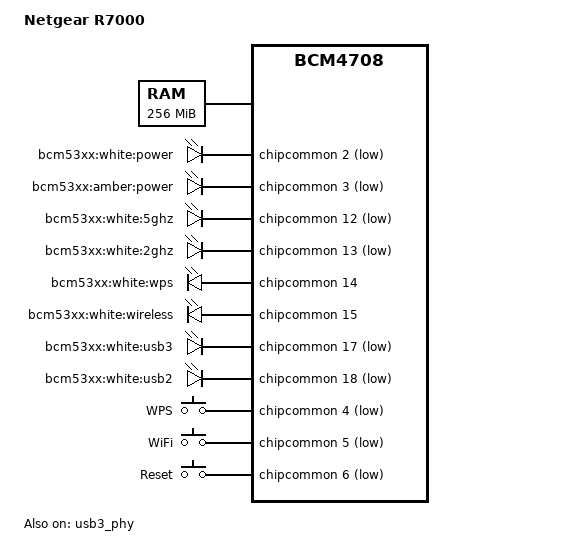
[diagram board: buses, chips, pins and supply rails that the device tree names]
// SPDX-License-Identifier: GPL-2.0-or-later OR MIT
/*
 * Broadcom BCM470X / BCM5301X ARM platform code.
 * DTS for Netgear R7000
 *
 * Copyright (C) 2015 Rafał Miłecki <zajec5@gmail.com>
 */

/dts-v1/;

#include "bcm4709.dtsi"
#include "bcm5301x-nand-cs0-bch8.dtsi"

/ {
	compatible = "netgear,r7000", "brcm,bcm4709", "brcm,bcm4708";
	model = "Netgear R7000";

	chosen {
		bootargs = "console=ttyS0,115200";
	};

	memory@0 {
		device_type = "memory";
		reg = <0x00000000 0x08000000>,
		      <0x88000000 0x08000000>;
	};

	leds {
		compatible = "gpio-leds";

		power-white {
			label = "bcm53xx:white:power";
			gpios = <&chipcommon 2 GPIO_ACTIVE_LOW>;
			linux,default-trigger = "default-on";
		};

		power-amber {
			label = "bcm53xx:amber:power";
			gpios = <&chipcommon 3 GPIO_ACTIVE_LOW>;
		};

		5ghz {
			label = "bcm53xx:white:5ghz";
			gpios = <&chipcommon 12 GPIO_ACTIVE_LOW>;
		};

		2ghz {
			label = "bcm53xx:white:2ghz";
			gpios = <&chipcommon 13 GPIO_ACTIVE_LOW>;
		};

		wps {
			label = "bcm53xx:white:wps";
			gpios = <&chipcommon 14 GPIO_ACTIVE_HIGH>;
		};

		wireless {
			label = "bcm53xx:white:wireless";
			gpios = <&chipcommon 15 GPIO_ACTIVE_HIGH>;
		};

		usb3 {
			label = "bcm53xx:white:usb3";
			gpios = <&chipcommon 17 GPIO_ACTIVE_LOW>;
		};

		usb2 {
			label = "bcm53xx:white:usb2";
			gpios = <&chipcommon 18 GPIO_ACTIVE_LOW>;
		};
	};

	gpio-keys {
		compatible = "gpio-keys";

		button-wps {
			label = "WPS";
			linux,code = <KEY_WPS_BUTTON>;
			gpios = <&chipcommon 4 GPIO_ACTIVE_LOW>;
		};

		button-rfkill {
			label = "WiFi";
			linux,code = <KEY_RFKILL>;
			gpios = <&chipcommon 5 GPIO_ACTIVE_LOW>;
		};

		button-restart {
			label = "Reset";
			linux,code = <KEY_RESTART>;
			gpios = <&chipcommon 6 GPIO_ACTIVE_LOW>;
		};
	};
};

&usb2 {
	vcc-gpio = <&chipcommon 0 GPIO_ACTIVE_HIGH>;
};

&usb3 {
	vcc-gpio = <&chipcommon 0 GPIO_ACTIVE_HIGH>;
};

&usb3_phy {
	status = "okay";
};
